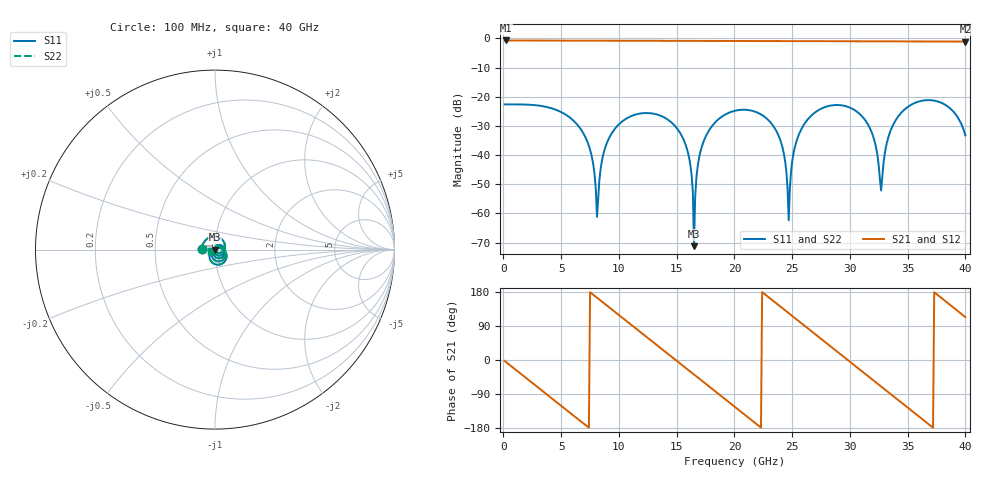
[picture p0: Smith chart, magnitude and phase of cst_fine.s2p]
! T_ts6_sl_10: Stripline In2, ThunderScope stack, w 0.183 mm, 10 mm
! stackup: ThunderScope Rev5.3 6-layer (FR408HR / FR-4, from the board file)
! ports: 1 near A, 2 far A
! CST Studio Suite 2025.5 Release from 2025-05-30, time domain (FIT, hexahedral, PBA), 219912 mesh cells, 40 s
! mesh: {'lpw': 30.0, 'lpb': 30.0, 'minstep': 0.0, 'ratio': 20}; ports: port 1 (face); port 2 (face)
! interpolated from CST's 1001 samples to the case grid
# Hz S RI R 50
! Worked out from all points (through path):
!   400 points, 100 MHz to 40 GHz, reference 50 ohm
!   highest |S21| = -0.68 dB at 200 MHz (marker M1); lowest = -1.1 dB at 40 GHz (marker M2)
!   group delay of S21, straight-line fit = 67.1 ps
!   lowest |S11| = -71.2 dB at 16.5 GHz (marker M3), VSWR 1.00, Z = 50 - j0.0275 ohm
!   |S11| at or under -10 dB: start of sweep to end of sweep
!   |S22| runs from -71.2 to -21.1 dB; largest |S21 - S12| = 4.5e-07
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1e8  -0.0739 0.00485  0.9234 -0.0391  0.9234 -0.0391  -0.0739 0.00485
2e8  -0.0735 0.00969  0.921 -0.0782  0.921 -0.0782  -0.0735 0.00969
3.5e9  0.0388 0.0564  0.0838 -0.9158  0.0838 -0.9158  0.0388 0.0564
6.8e9  0.0184 -0.0183  -0.8808 -0.2481  -0.8808 -0.2481  0.0184 -0.0183
8.1e9  -0.000655 -0.000585  -0.8811 0.2456  -0.8811 0.2456  -0.000655 -0.000585
9.3e9  0.00728 0.0212  -0.6522 0.6412  -0.6522 0.6412  0.00728 0.0212
1.34e10  0.0402 -0.028  0.7331 0.5423  0.7331 0.5423  0.0402 -0.028
1.59e10  -0.00137 -0.0125  0.8322 -0.367  0.8322 -0.367  -0.00137 -0.0125
1.64e10  -0.000658 -0.00225  0.7369 -0.5325  0.7369 -0.5325  -0.000658 -0.00225
1.65e10  1.33e-05 -0.000275  0.7138 -0.563  0.7138 -0.563  1.33e-05 -0.000275
1.67e10  0.00185 0.00348  0.6639 -0.621  0.6639 -0.621  0.00185 0.00348
1.72e10  0.00907 0.0112  0.5193 -0.7458  0.5193 -0.7458  0.00907 0.0112
2.01e10  0.0547 -0.0193  -0.5229 -0.7414  -0.5229 -0.7414  0.0547 -0.0193
2.37e10  -0.00768 -0.0231  -0.7642 0.4808  -0.7642 0.4808  -0.00768 -0.0231
2.47e10  -0.000601 0.000477  -0.5002 0.7503  -0.5002 0.7503  -0.000601 0.000477
2.52e10  0.00982 0.00829  -0.3321 0.838  -0.3321 0.838  0.00982 0.00829
2.67e10  0.0484 0.000734  0.2271 0.8712  0.2271 0.8712  0.0484 0.000734
3.11e10  -0.0148 -0.0426  0.7666 -0.463  0.7666 -0.463  -0.0148 -0.0426
3.27e10  -0.00121 0.00216  0.3078 -0.838  0.3078 -0.838  -0.00121 0.00216
3.34e10  0.0206 0.009  0.0505 -0.8903  0.0505 -0.8903  0.0206 0.009
3.69e10  0.0324 -0.0815  -0.8793 -0.1318  -0.8793 -0.1318  0.0324 -0.0815
4e10  -0.0201 -0.00844  -0.348 0.8126  -0.348 0.8126  -0.0201 -0.00844
